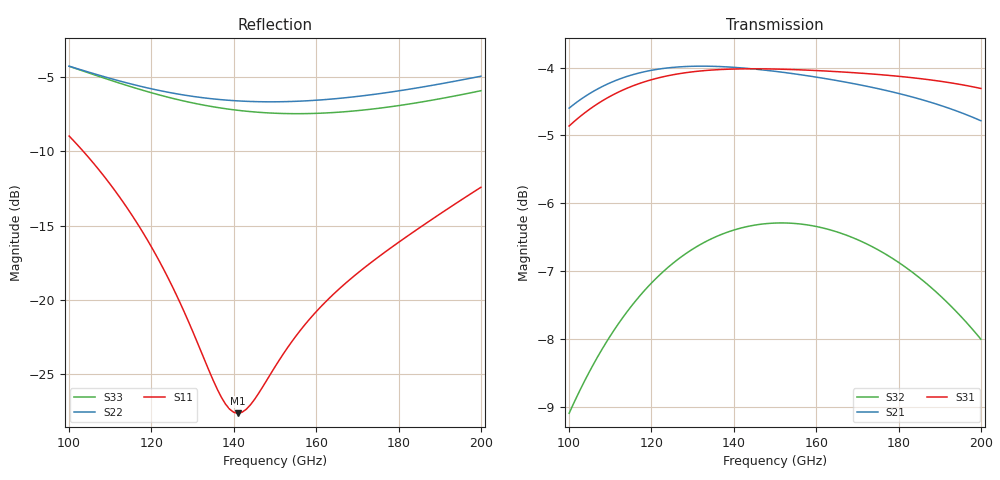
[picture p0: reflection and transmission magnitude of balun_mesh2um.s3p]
! Created with skrf 2.2.0 (http://scikit-rf.org).
# GHz S DB R 50.0
! Port[1] = P1
! Port[2] = P2
! Port[3] = P3
!freq dBS11 angS11 dBS12 angS12 dBS13 angS13
! dBS21 angS21 dBS22 angS22 dBS23 angS23
! dBS31 angS31 dBS32 angS32 dBS33 angS33
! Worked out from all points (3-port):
!   101 points, 100 GHz to 200 GHz, reference 50 ohm
!   strongest paths, dB at 100 GHz, 125 GHz, 150 GHz, 175 GHz, 200 GHz:
!     S31: -4.9, -4.1, -4.0, -4.1, -4.3
!     S21: -4.6, -4.0, -4.1, -4.3, -4.8
!     S32: -9.1, -6.9, -6.3, -6.7, -8.0
!   lowest |S11| = -27.6 dB at 141 GHz (marker M1), VSWR 1.09, Z = 46.1 + j0.821 ohm
!   |S11| at or under -10 dB: 103.4 GHz to end of sweep
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100  -8.98 130.1  -4.60 -12.9  -4.86 163.1
     -4.60 -12.9  -4.29 59.9  -9.10 90.3
     -4.86 163.1  -9.10 90.3  -4.30 49.5
118  -15.50 113.2  -4.06 -40.6  -4.22 133.8
     -4.06 -40.6  -5.69 44.2  -7.31 62.8
     -4.22 133.8  -7.31 62.8  -5.92 30.9
126  -19.63 113.6  -3.99 -51.8  -4.10 121.8
     -3.99 -51.8  -6.14 38.2  -6.85 51.5
     -4.10 121.8  -6.85 51.5  -6.51 24.0
137  -26.55 142.5  -3.99 -66.4  -4.03 106.2
     -3.99 -66.4  -6.54 30.5  -6.46 36.7
     -4.03 106.2  -6.46 36.7  -7.11 15.3
141  -27.61 167.7  -4.00 -71.5  -4.02 100.8
     -4.00 -71.5  -6.62 27.7  -6.38 31.5
     -4.02 100.8  -6.38 31.5  -7.26 12.3
144  -27.05 -174.3  -4.02 -75.3  -4.02 96.8
     -4.02 -75.3  -6.66 25.6  -6.34 27.7
     -4.02 96.8  -6.34 27.7  -7.34 10.0
150  -24.49 -152.5  -4.05 -82.7  -4.02 88.9
     -4.05 -82.7  -6.68 21.3  -6.29 20.2
     -4.02 88.9  -6.29 20.2  -7.45 5.6
160  -20.79 -140.0  -4.14 -94.7  -4.04 76.1
     -4.14 -94.7  -6.58 13.8  -6.34 8.0
     -4.04 76.1  -6.34 8.0  -7.46 -2.0
174  -17.34 -135.8  -4.30 -111.3  -4.10 58.6
     -4.30 -111.3  -6.19 2.4  -6.65 -8.6
     -4.10 58.6  -6.65 -8.6  -7.16 -13.0
200  -12.43 -140.2  -4.78 -142.6  -4.31 25.7
     -4.78 -142.6  -4.97 -21.5  -8.01 -39.2
     -4.31 25.7  -8.01 -39.2  -5.94 -35.9
